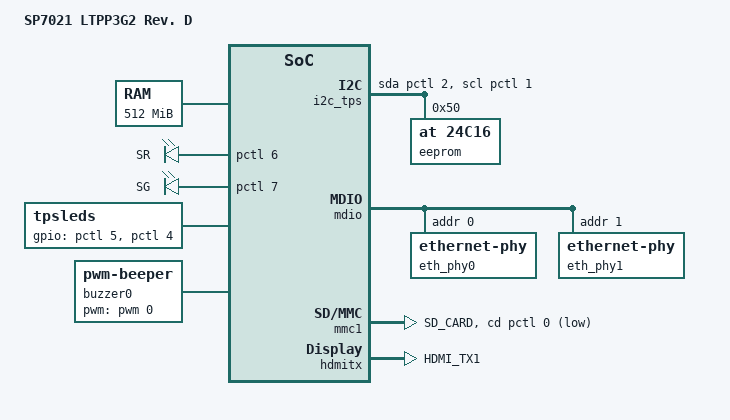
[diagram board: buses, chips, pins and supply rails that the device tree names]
// SPDX-License-Identifier: GPL-2.0
/*
 * Device Tree Source (include) for Sunplus SP7021 SoC
 *                (LTPP3G2 Rev. D portion)
 *
 * Copyright (C) 2021 Sunplus Technology Co.
 */

/dts-v1/;

#include "sp7021-common.dtsi"

/ {
	model = "SP7021 LTPP3G2 Rev. D";

	chosen {
		bootargs = "console=ttyS0,115200 root=/dev/ram rw loglevel=8 earlyprintk";
		stdout-path = "serial0:115200n8";
	};

	memory@0 {
		device_type = "memory";
		reg = <0x00000000 0x20000000>; /* 512MB */
	};
};

&rtc {  charging-mode = <0x0E>;  };

&sp_display {
    ui_width = <1280>;
    ui_height = <720>;
    ui_format = <0x8>;
};

&sp_spinor0 {  status = "disabled";  };
&spi_controller0 {  status = "disabled";  };
&spi_controller1 {  status = "disabled";  };
&spi_controller2 {  status = "disabled";  };
&spi_controller3 {  status = "disabled";  };

&sdio {
 pinctrl-names = "default";
 pinctrl-0 = <&pins_sdio &pins_sdio_reset>;
 bus-width = <4>;
 max-frequency = <40000000>; /* up to 52 */
 // this: enable
 status = "disabled";
 brcmf1: bcrmf@1 {
   reg = <1>;
   compatible = "android,bcmdhd_wlan";
   reset-gpios = <&pctl 83 GPIO_ACTIVE_LOW>;
 };
};

&sp_uphy0 {
 pinctrl-names = "default";
 pinctrl-0 = <&pins_vbus_usb0>;
 vbus-gpio = <&pctl 90 GPIO_ACTIVE_HIGH>;
};

&sp_uphy1 {
  pinctrl-names = "default";
  pinctrl-0 = <&pins_vbus_usb1>;
  vbus-gpio = <&pctl 91 GPIO_ACTIVE_HIGH>;
};

&l2sw {
 pinctrl-names = "default";
 pinctrl-0 = <&ethA_pins &eth0_pins &eth1_pins>;

 phy-handle1 = <&eth_phy0>;
 phy-handle2 = <&eth_phy1>;
 mdio {
   #address-cells = <1>;
   #size-cells = <0>;
   eth_phy0: ethernet-phy@0 {
     reg = <0>;
   };
   eth_phy1: ethernet-phy@1 {
     reg = <1>;
   };
 };
};

&mmc0 {
 pinctrl-names = "default";
 pinctrl-0 = <&emmc_mux>;
};

&mmc1 {
 pinctrl-names = "default";
 pinctrl-0 = <&mmc1_mux>;
 cd-gpios = <&pctl 0 GPIO_ACTIVE_LOW>;
};

&hdmitx {
 pinctrl-names = "default";
 pinctrl-0 = <&hdmi_A_tx1>;
};

&uart1 {
 pinctrl-names = "default";
 pinctrl-0 = <&pins_uart1>;
 status = "disabled";
 // this: enable, pins_uart1
};
&uart2 {
 pinctrl-names = "default";
 pinctrl-0 = <&pins_uart2>;
 status = "disabled";
 // this: enable, pins_uart2
};
&uart3 {
 pinctrl-names = "default";
 pinctrl-0 = <&pins_uart3>;
 status = "disabled";
 // this: enable, pins_uart3
};
&uart4 {
 pinctrl-names = "default";
 /* pinctrl-0 = <&pins_uart4>; */
 pinctrl-0 = <&pins_btuart &pins_bt_reset>;
 status = "disabled";
 // this: enable (bt) | enable (uart4), pins_uart4
};

&i2cm0 {  status = "disabled";  };
&i2cm1 {  status = "disabled";  };
&i2cm2 {  status = "disabled";  };
&i2cm3 {  status = "disabled";  };

&pctl {
 /*** all non-device binded that you want to set mode ***/
 pinctrl-names = "default";
 pinctrl-0 = <&pins_iopp_nobinded &pins_gpio_nobinded &func_zero>;

 /* detouch any preset pins from this functions */
 func_zero: pinmux_func_zero-pins {
   sunplus,zerofunc = <
     MUXF_L2SW_LED_FLASH0
     MUXF_L2SW_LED_ON0
     MUXF_L2SW_LED_FLASH1
     MUXF_L2SW_LED_ON1
     MUXF_L2SW_P0_MAC_RMII_RXER
     MUXF_L2SW_P1_MAC_RMII_RXER
     GROP_SPI_FLASH
   >;
 };

 pins_iopp_nobinded: pinmux_iopp_nobinded-pins {
    sunplus,pins = <
    /* SPPCTL_IOPAD(97,SPPCTL_PCTL_G_IOPP,0,0) */
    >;
 };
 pins_gpio_nobinded: pinmux_gpio_nobinded-pins {
    sunplus,pins = <
      /*SPPCTL_IOPAD(42,SPPCTL_PCTL_G_GPIO,0,0)*/   /* was L2SW_LED_FLASH0 */
      /*SPPCTL_IOPAD(51,SPPCTL_PCTL_G_GPIO,0,0)*/   /* was L2SW_LED_ON0 */
      SPPCTL_IOPAD(30,SPPCTL_PCTL_G_GPIO,0,0)   /* was L2SW_LED_FLASH1 */
      SPPCTL_IOPAD(39,SPPCTL_PCTL_G_GPIO,0,0)   /* was L2SW_LED_ON1  */
    >;
 };

 pins_vbus_usb0: pinmux_vbus_usb0-pins {
    sunplus,pins = <
      SPPCTL_IOPAD(90,SPPCTL_PCTL_G_GPIO,0,SPPCTL_PCTL_L_OUT)
    >;
 };
 pins_vbus_usb1: pinmux_vbus_usb1-pins {
    sunplus,pins = <
      SPPCTL_IOPAD(91,SPPCTL_PCTL_G_GPIO,0,SPPCTL_PCTL_L_OUT)
    >;
 };

 leds_s0_def: pinmux_user_leds_s0_def-pins {
    sunplus,pins = <
      SPPCTL_IOPAD(6,SPPCTL_PCTL_G_GPIO,MUXF_GPIO,SPPCTL_PCTL_L_INV)
      SPPCTL_IOPAD(7,SPPCTL_PCTL_G_GPIO,0,SPPCTL_PCTL_L_INV)
    >;
 };
 leds_s0_slp: pinmux_user_leds_s0_slp-pins {
    sunplus,pins = <
      SPPCTL_IOPAD(6,SPPCTL_PCTL_G_GPIO,0,0)
      SPPCTL_IOPAD(7,SPPCTL_PCTL_G_GPIO,0,0)
    >;
 };
 tpsleds_pins: pinmux_user_tpsleds-pins {
    sunplus,pins = <
      SPPCTL_IOPAD(4,SPPCTL_PCTL_G_GPIO,0,0)
      SPPCTL_IOPAD(5,SPPCTL_PCTL_G_GPIO,0,0)
    >;
 };
// this:
 pins_uart1: pinmux_uart1-pins {
    sunplus,pins = <
      SPPCTL_IOPAD(8,SPPCTL_PCTL_G_PMUX,MUXF_UA1_TX,0)
      SPPCTL_IOPAD(9,SPPCTL_PCTL_G_PMUX,MUXF_UA1_RX,0)
      SPPCTL_IOPAD(10,SPPCTL_PCTL_G_PMUX,MUXF_UA1_RTS,0)
      SPPCTL_IOPAD(11,SPPCTL_PCTL_G_PMUX,MUXF_UA1_CTS,0)
    >;
 };
// this/
// this:
 pins_uart2: pinmux_uart2-pins {
    sunplus,pins = <
      SPPCTL_IOPAD(12,SPPCTL_PCTL_G_PMUX,MUXF_UA2_TX,0)
      SPPCTL_IOPAD(13,SPPCTL_PCTL_G_PMUX,MUXF_UA2_RX,0)
      SPPCTL_IOPAD(14,SPPCTL_PCTL_G_PMUX,MUXF_UA2_RTS,0)
      SPPCTL_IOPAD(15,SPPCTL_PCTL_G_PMUX,MUXF_UA2_CTS,0)
    >;
 };
// this/
// this:
 pins_uart3: pinmux_uart3-pins {
    sunplus,pins = <
      SPPCTL_IOPAD(16,SPPCTL_PCTL_G_PMUX,MUXF_UA3_TX,0)
      SPPCTL_IOPAD(17,SPPCTL_PCTL_G_PMUX,MUXF_UA3_RX,0)
      SPPCTL_IOPAD(18,SPPCTL_PCTL_G_PMUX,MUXF_UA3_RTS,0)
      SPPCTL_IOPAD(19,SPPCTL_PCTL_G_PMUX,MUXF_UA3_CTS,0)
    >;
 };
// this/
// this:
 pins_uart4: pinmux_uart4-pins {
    sunplus,pins = <
      SPPCTL_IOPAD(20,SPPCTL_PCTL_G_PMUX,MUXF_UA4_TX,0)
      SPPCTL_IOPAD(21,SPPCTL_PCTL_G_PMUX,MUXF_UA4_RX,0)
      SPPCTL_IOPAD(22,SPPCTL_PCTL_G_PMUX,MUXF_UA4_RTS,0)
      SPPCTL_IOPAD(23,SPPCTL_PCTL_G_PMUX,MUXF_UA4_CTS,0)
    >;
 };
// this/
 pins_btuart: pinmux_btuart-pins {
    sunplus,pins = <
      SPPCTL_IOPAD(40,SPPCTL_PCTL_G_PMUX,MUXF_UA4_RX,0)
      SPPCTL_IOPAD(41,SPPCTL_PCTL_G_PMUX,MUXF_UA4_TX,0)
      SPPCTL_IOPAD(56,SPPCTL_PCTL_G_PMUX,MUXF_UA4_RTS,SPPCTL_PCTL_L_ONV)
      SPPCTL_IOPAD(49,SPPCTL_PCTL_G_PMUX,MUXF_UA4_CTS,0)
    >;
 };
 pins_bt_reset: pinmux_bt_reset-pins {
    sunplus,pins = <
      SPPCTL_IOPAD(82,SPPCTL_PCTL_G_GPIO,0,0)
    >;
 };
 buzzer0_pins: pinmux_user_buzzer0-pins {
    sunplus,pins = <
      SPPCTL_IOPAD(48,SPPCTL_PCTL_G_PMUX,MUXF_PWM0,0)
    >;
 };
 pins_i2ctps: pinmux_i2ctps-pins {
    sunplus,pins = <
      SPPCTL_IOPAD(1,SPPCTL_PCTL_G_GPIO,0,SPPCTL_PCTL_L_OUT|SPPCTL_PCTL_L_ONV|SPPCTL_PCTL_L_ODR)
      SPPCTL_IOPAD(2,SPPCTL_PCTL_G_GPIO,0,SPPCTL_PCTL_L_OUT|SPPCTL_PCTL_L_ONV|SPPCTL_PCTL_L_ODR)
    >;
 };
 hdmi_A_tx1: pinmux_hdmi_tx1-pins {
    function = "HDMI_TX";
    groups = "HDMI_TX1";
 };
 /* for all eth */
 ethA_pins: pinmux_ethA-pins {
  sunplus,pins = <
       SPPCTL_IOPAD(63,SPPCTL_PCTL_G_PMUX,MUXF_L2SW_CLK_OUT,0)
       SPPCTL_IOPAD(71,SPPCTL_PCTL_G_PMUX,MUXF_L2SW_MAC_SMI_MDC,0)
       SPPCTL_IOPAD(64,SPPCTL_PCTL_G_PMUX,MUXF_L2SW_MAC_SMI_MDIO,0)
  >;
 };
 eth0_pins: pinmux_eth0-pins {
  sunplus,pins = <
       SPPCTL_IOPAD(62,SPPCTL_PCTL_G_PMUX,MUXF_L2SW_P0_MAC_RMII_TXEN,0)
       SPPCTL_IOPAD(61,SPPCTL_PCTL_G_PMUX,MUXF_L2SW_P0_MAC_RMII_TXD0,0)
       SPPCTL_IOPAD(60,SPPCTL_PCTL_G_PMUX,MUXF_L2SW_P0_MAC_RMII_TXD1,0)
       SPPCTL_IOPAD(59,SPPCTL_PCTL_G_PMUX,MUXF_L2SW_P0_MAC_RMII_CRSDV,0)
       SPPCTL_IOPAD(58,SPPCTL_PCTL_G_PMUX,MUXF_L2SW_P0_MAC_RMII_RXD0,0)
       SPPCTL_IOPAD(57,SPPCTL_PCTL_G_PMUX,MUXF_L2SW_P0_MAC_RMII_RXD1,0)
  >;
 };
 eth1_pins: pinmux_eth1-pins {
  sunplus,pins = <
       SPPCTL_IOPAD(55,SPPCTL_PCTL_G_PMUX,MUXF_L2SW_P1_MAC_RMII_TXEN,0)
       SPPCTL_IOPAD(54,SPPCTL_PCTL_G_PMUX,MUXF_L2SW_P1_MAC_RMII_TXD0,0)
       SPPCTL_IOPAD(53,SPPCTL_PCTL_G_PMUX,MUXF_L2SW_P1_MAC_RMII_TXD1,0)
       SPPCTL_IOPAD(52,SPPCTL_PCTL_G_PMUX,MUXF_L2SW_P1_MAC_RMII_CRSDV,0)
       SPPCTL_IOPAD(51,SPPCTL_PCTL_G_PMUX,MUXF_L2SW_P1_MAC_RMII_RXD0,0)
       SPPCTL_IOPAD(50,SPPCTL_PCTL_G_PMUX,MUXF_L2SW_P1_MAC_RMII_RXD1,0)
  >;
 };

 mmc1_mux: pinmux_mmc1-pins {
	function = "SD_CARD";
	groups = "SD_CARD";
	sunplus,pins = < SPPCTL_IOPAD(0,SPPCTL_PCTL_G_GPIO,0,0) >;
 };
 pins_sdio: pinmux_sdio-pins {
	sunplus,pins = <
		SPPCTL_IOPAD(44,SPPCTL_PCTL_G_PMUX,MUXF_SDIO_D1,0)
		SPPCTL_IOPAD(45,SPPCTL_PCTL_G_PMUX,MUXF_SDIO_D0,0)
		SPPCTL_IOPAD(46,SPPCTL_PCTL_G_PMUX,MUXF_SDIO_CLK,0)
		SPPCTL_IOPAD(47,SPPCTL_PCTL_G_PMUX,MUXF_SDIO_CMD,0)
		SPPCTL_IOPAD(42,SPPCTL_PCTL_G_PMUX,MUXF_SDIO_D3,0)
		SPPCTL_IOPAD(43,SPPCTL_PCTL_G_PMUX,MUXF_SDIO_D2,0) >;
 };
 pins_sdio_reset: pinmux_sdio_reset-pins {
	sunplus,pins = <
		/* additional reset pin for BRCM */
		SPPCTL_IOPAD(83,SPPCTL_PCTL_G_GPIO,0,SPPCTL_PCTL_L_OU1)
	>;
 };

};

/ {
	soc@B {
		tpsid {
        	    compatible = "tpsid";
		    nvmem-cell-names = "mac_addr0";
		    nvmem-cells = <&mac_addr0>;
		};
		leds: leds {
		    pinctrl-names = "default", "sleep";
		    pinctrl-0 = <&leds_s0_def>;
		    pinctrl-1 = <&leds_s0_slp>;
		    compatible = "gpio-leds";
		    leds_SR: led@1 {
			label = "SR";
			gpios = <&pctl 6 GPIO_ACTIVE_HIGH>;
			linux,default-trigger = "heartbeat";
			default-state = "off";
		    };
		    leds_SG: led@2 {
			label = "SG";
			gpios = <&pctl 7 GPIO_ACTIVE_HIGH>;
			linux,default-trigger = "mmc0";
			default-state = "off";
		    };
		};
		tpsleds: tpsleds {
		    compatible = "tpsleds";
		    pinctrl-names = "default";
		    pinctrl-0 = <&tpsleds_pins>;
		    status = "okay";
		    init-val = <0x0>;
		    gpios = <&pctl 5 GPIO_ACTIVE_HIGH
			     &pctl 4 GPIO_ACTIVE_HIGH
		    >;
		};
		buzzer0: buzzer0 {
		    compatible = "pwm-beeper";
		    pinctrl-names = "default";
		    pinctrl-0 = <&buzzer0_pins>;
		    pwms = <&pwm 0 1000000 0>;
		};
		i2c_tps: i2c-tps { /* eeprom */
		    compatible = "i2c-gpio";
		    i2c-gpio,scl-open-drain;
		    i2c-gpio,sda-open-drain;
		    i2c-gpio,delay-us = <1>;/* ~100 kHz */
		    #address-cells = <1>;
		    #size-cells = <0>;
		    pinctrl-names = "default";
		    pinctrl-0 = <&pins_i2ctps>;
		    gpios = <&pctl 2 GPIO_ACTIVE_HIGH     /* SDA */
			     &pctl 1 GPIO_ACTIVE_HIGH     /* SCL */
                    >;
		    eeprom: eeprom@50 {
			compatible = "at,24c16";
			reg = <0x50>;
			pagesize = <16>;
		    };
		};
	};
};
